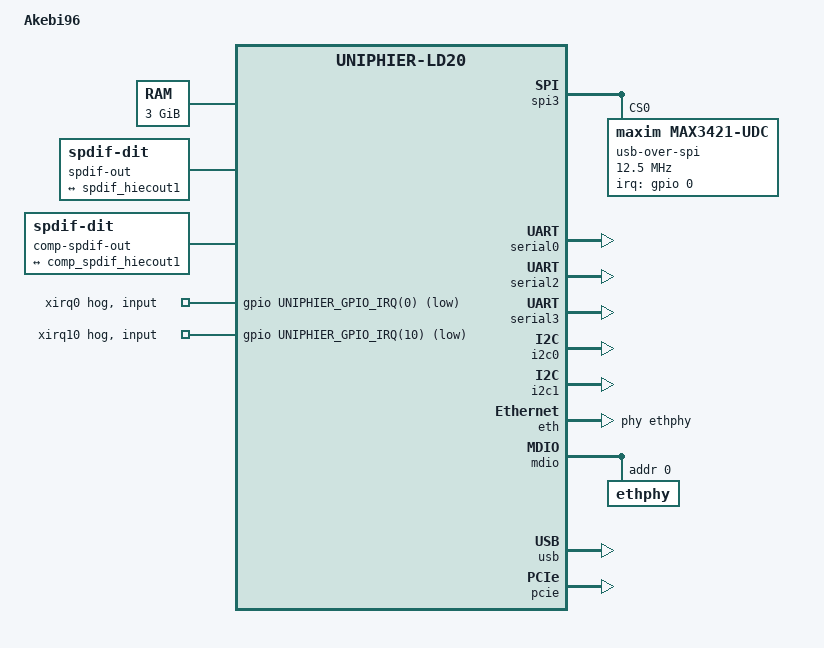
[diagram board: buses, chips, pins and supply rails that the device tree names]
// SPDX-License-Identifier: GPL-2.0+ OR MIT
//
// Device Tree Source for Akebi96 Development Board
//
// Derived from uniphier-ld20-global.dts.
//
// Copyright (C) 2015-2017 Socionext Inc.
// Copyright (C) 2019-2020 Linaro Ltd.

/dts-v1/;
#include <dt-bindings/gpio/uniphier-gpio.h>
#include "uniphier-ld20.dtsi"

/ {
	model = "Akebi96";
	compatible = "socionext,uniphier-ld20-akebi96",
		     "socionext,uniphier-ld20";

	chosen {
		stdout-path = "serial0:115200n8";
	};

	aliases {
		serial0 = &serial0;
		serial1 = &serial1;
		serial2 = &serial2;
		serial3 = &serial3;
		i2c0 = &i2c0;
		i2c1 = &i2c1;
		i2c2 = &i2c2;
		i2c3 = &i2c3;
		i2c4 = &i2c4;
		i2c5 = &i2c5;
		spi0 = &spi0;
		spi1 = &spi1;
		spi2 = &spi2;
		spi3 = &spi3;
		ethernet0 = &eth;
	};

	memory@80000000 {
		device_type = "memory";
		reg = <0 0x80000000 0 0xc0000000>;
	};

	framebuffer@c0000000 {
		compatible = "simple-framebuffer";
		reg = <0 0xc0000000 0 0x02000000>;
		width = <1920>;
		height = <1080>;
		stride = <7680>;
		format = "a8r8g8b8";
	};

	reserved-memory {
		#address-cells = <2>;
		#size-cells = <2>;
		ranges;

		memory@c0000000 {
			reg = <0 0xc0000000 0 0x02000000>;
			no-map;
		};
	};

	sound {
		compatible = "audio-graph-card";
		label = "UniPhier LD20";
		dais = <&spdif_port0
			&comp_spdif_port0>;
	};

	spdif-out {
		compatible = "linux,spdif-dit";
		#sound-dai-cells = <0>;

		port@0 {
			spdif_tx: endpoint {
				remote-endpoint = <&spdif_hiecout1>;
			};
		};
	};

	comp-spdif-out {
		compatible = "linux,spdif-dit";
		#sound-dai-cells = <0>;

		port@0 {
			comp_spdif_tx: endpoint {
				remote-endpoint = <&comp_spdif_hiecout1>;
			};
		};
	};

	firmware {
		optee {
			compatible = "linaro,optee-tz";
			method = "smc";
		};
	};
};

&spi3 {
	status = "okay";
	#address-cells = <1>;
	#size-cells = <0>;
	usb-over-spi@0 {
		compatible = "maxim,max3421-udc";
		reg = <0>;
		spi-max-frequency = <12500000>;
		interrupt-parent = <&gpio>;
		interrupt-names = "udc";
		interrupts = <0 2>;
	};
};

&serial0 {
	/* Onboard USB-UART */
	status = "okay";
};

&serial2 {
	/* LS connector UART1 */
	status = "okay";
};

&serial3 {
	/* LS connector UART0 */
	status = "okay";
};

&spdif_hiecout1 {
	remote-endpoint = <&spdif_tx>;
};

&comp_spdif_hiecout1 {
	remote-endpoint = <&comp_spdif_tx>;
};

&i2c0 {
	/* LS connector I2C0 */
	status = "okay";
};

&i2c1 {
	/* LS connector I2C1 */
	status = "okay";
};

&eth {
	status = "okay";
	phy-handle = <&ethphy>;
};

&mdio {
	ethphy: ethphy@0 {
		reg = <0>;
	};
};

&usb {
	status = "okay";
};

&pcie {
	status = "okay";
};

&gpio {
	/* IRQs for Max3421 */
	xirq0 {
		gpio-hog;
		gpios = <UNIPHIER_GPIO_IRQ(0) 1>;
		input;
	};
	xirq10 {
		gpio-hog;
		gpios = <UNIPHIER_GPIO_IRQ(10) 1>;
		input;
	};
};

&pinctrl_aout1 {
	groups = "aout1b";
};

&pinctrl_uart3 {
	groups = "uart3", "uart3_ctsrts";
};
